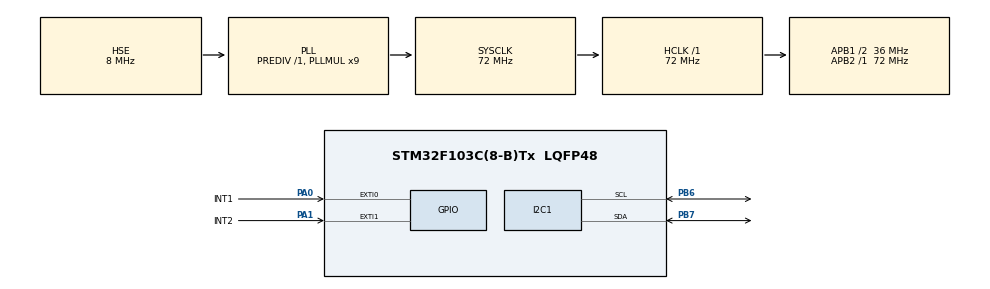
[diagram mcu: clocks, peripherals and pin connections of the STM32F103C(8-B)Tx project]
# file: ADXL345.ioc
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I2C1.I2C_Mode=I2C_Fast
Mcu.Family=STM32F1
Mcu.Name=STM32F103C(8-B)Tx
Mcu.Package=LQFP48
NVIC.PriorityGroup=NVIC_PRIORITYGROUP_4
PA0-WKUP.GPIO_Label=INT1
PA0-WKUP.Signal=GPXTI0
PA1.GPIO_Label=INT2
PA1.Signal=GPXTI1
PA13.Mode=Serial_Wire
PA13.Signal=SYS_JTMS-SWDIO
PA14.Mode=Serial_Wire
PA14.Signal=SYS_JTCK-SWCLK
PB6.Mode=I2C
PB6.Signal=I2C1_SCL
PB7.Mode=I2C
PB7.Signal=I2C1_SDA
PD0-OSC_IN.Mode=HSE-External-Oscillator
PD0-OSC_IN.Signal=RCC_OSC_IN
PD1-OSC_OUT.Mode=HSE-External-Oscillator
PD1-OSC_OUT.Signal=RCC_OSC_OUT
ProjectManager.HeapSize=0x200
ProjectManager.StackSize=0x400
ProjectManager.TargetToolchain=EWARM V8.32
RCC.AHBFreq_Value=72000000
RCC.APB1CLKDivider=RCC_HCLK_DIV2
RCC.APB1Freq_Value=36000000
RCC.APB1TimFreq_Value=72000000
RCC.APB2Freq_Value=72000000
RCC.APB2TimFreq_Value=72000000
RCC.HCLKFreq_Value=72000000
RCC.PLLMUL=RCC_PLL_MUL9
RCC.PLLSourceVirtual=RCC_PLLSOURCE_HSE
RCC.SYSCLKFreq_VALUE=72000000
RCC.SYSCLKSource=RCC_SYSCLKSOURCE_PLLCLK
RCC.USBFreq_Value=72000000
TIM2.Prescaler=72-1
VP_TIM2_VS_ClockSourceINT.Mode=Internal
board=custom

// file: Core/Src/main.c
/* USER CODE BEGIN Header */
/**
  ******************************************************************************
  * @file           : main.c
  * @brief          : Main program body
  ******************************************************************************
  * @attention
  *
  * Copyright (c) 2025 STMicroelectronics.
  * All rights reserved.
  *
  * This software is licensed under terms that can be found in the LICENSE file
  * in the root directory of this software component.
  * If no LICENSE file comes with this software, it is provided AS-IS.
  *
  ******************************************************************************
  */
/* USER CODE END Header */
#include "main.h"

/* USER CODE BEGIN Includes */
#include "ADXL345.h"

/* USER CODE END Includes */

I2C_HandleTypeDef hi2c1;

TIM_HandleTypeDef htim2;

/* USER CODE BEGIN PV */

ADXL345_Data_t accel;

/* USER CODE END PV */

void SystemClock_Config(void);
static void MX_GPIO_Init(void);
static void MX_I2C1_Init(void);
static void MX_TIM2_Init(void);

int main(void)
{

  /* MCU Configuration--------------------------------------------------------*/

  /* Reset of all peripherals, Initializes the Flash interface and the Systick. */
  HAL_Init();

  /* Configure the system clock */
  SystemClock_Config();

  /* Initialize all configured peripherals */
  MX_GPIO_Init();
  MX_I2C1_Init();
  MX_TIM2_Init();
  /* USER CODE BEGIN 2 */
    ADXL345_Init(&hi2c1);
    ADXL345_EnableInterrupts(&hi2c1);

  /* USER CODE END 2 */

  /* Infinite loop */
  /* USER CODE BEGIN WHILE */
  while (1)
  {
      // Polling ??????? ?? 10ms (???????)
        ADXL345_ReadXYZ(&hi2c1, &accel);

        // ????? ?????
        if(accel.DataReady) accel.DataReady = 0;
        if(accel.SingleTap) accel.SingleTap = 0;
        if(accel.DoubleTap) accel.DoubleTap = 0;
        if(accel.FreeFall) accel.FreeFall = 0;
        if(accel.Activity) accel.Activity = 0;
        if(accel.Inactivity) accel.Inactivity = 0;

        HAL_Delay(10);

    /* USER CODE END WHILE */

  }
}

void SystemClock_Config(void)
{
  RCC_OscInitTypeDef RCC_OscInitStruct = {0};
  RCC_ClkInitTypeDef RCC_ClkInitStruct = {0};

  /** Initializes the RCC Oscillators according to the specified parameters
  * in the RCC_OscInitTypeDef structure.
  */
  RCC_OscInitStruct.OscillatorType = RCC_OSCILLATORTYPE_HSE;
  RCC_OscInitStruct.HSEState = RCC_HSE_ON;
  RCC_OscInitStruct.HSEPredivValue = RCC_HSE_PREDIV_DIV1;
  RCC_OscInitStruct.HSIState = RCC_HSI_ON;
  RCC_OscInitStruct.PLL.PLLState = RCC_PLL_ON;
  RCC_OscInitStruct.PLL.PLLSource = RCC_PLLSOURCE_HSE;
  RCC_OscInitStruct.PLL.PLLMUL = RCC_PLL_MUL9;
  if (HAL_RCC_OscConfig(&RCC_OscInitStruct) != HAL_OK)
  {
    Error_Handler();
  }

  /** Initializes the CPU, AHB and APB buses clocks
  */
  RCC_ClkInitStruct.ClockType = RCC_CLOCKTYPE_HCLK|RCC_CLOCKTYPE_SYSCLK
                              |RCC_CLOCKTYPE_PCLK1|RCC_CLOCKTYPE_PCLK2;
  RCC_ClkInitStruct.SYSCLKSource = RCC_SYSCLKSOURCE_PLLCLK;
  RCC_ClkInitStruct.AHBCLKDivider = RCC_SYSCLK_DIV1;
  RCC_ClkInitStruct.APB1CLKDivider = RCC_HCLK_DIV2;
  RCC_ClkInitStruct.APB2CLKDivider = RCC_HCLK_DIV1;

  if (HAL_RCC_ClockConfig(&RCC_ClkInitStruct, FLASH_LATENCY_2) != HAL_OK)
  {
    Error_Handler();
  }
}

static void MX_I2C1_Init(void)
{

  hi2c1.Instance = I2C1;
  hi2c1.Init.ClockSpeed = 400000;
  hi2c1.Init.DutyCycle = I2C_DUTYCYCLE_2;
  hi2c1.Init.OwnAddress1 = 0;
  hi2c1.Init.AddressingMode = I2C_ADDRESSINGMODE_7BIT;
  hi2c1.Init.DualAddressMode = I2C_DUALADDRESS_DISABLE;
  hi2c1.Init.OwnAddress2 = 0;
  hi2c1.Init.GeneralCallMode = I2C_GENERALCALL_DISABLE;
  hi2c1.Init.NoStretchMode = I2C_NOSTRETCH_DISABLE;
  if (HAL_I2C_Init(&hi2c1) != HAL_OK)
  {
    Error_Handler();
  }

}

static void MX_TIM2_Init(void)
{

  TIM_ClockConfigTypeDef sClockSourceConfig = {0};
  TIM_MasterConfigTypeDef sMasterConfig = {0};

  htim2.Instance = TIM2;
  htim2.Init.Prescaler = 72-1;
  htim2.Init.CounterMode = TIM_COUNTERMODE_UP;
  htim2.Init.Period = 65535;
  htim2.Init.ClockDivision = TIM_CLOCKDIVISION_DIV1;
  htim2.Init.AutoReloadPreload = TIM_AUTORELOAD_PRELOAD_DISABLE;
  if (HAL_TIM_Base_Init(&htim2) != HAL_OK)
  {
    Error_Handler();
  }
  sClockSourceConfig.ClockSource = TIM_CLOCKSOURCE_INTERNAL;
  if (HAL_TIM_ConfigClockSource(&htim2, &sClockSourceConfig) != HAL_OK)
  {
    Error_Handler();
  }
  sMasterConfig.MasterOutputTrigger = TIM_TRGO_RESET;
  sMasterConfig.MasterSlaveMode = TIM_MASTERSLAVEMODE_DISABLE;
  if (HAL_TIMEx_MasterConfigSynchronization(&htim2, &sMasterConfig) != HAL_OK)
  {
    Error_Handler();
  }

}

static void MX_GPIO_Init(void)
{
  GPIO_InitTypeDef GPIO_InitStruct = {0};

  /* GPIO Ports Clock Enable */
  __HAL_RCC_GPIOD_CLK_ENABLE();
  __HAL_RCC_GPIOA_CLK_ENABLE();
  __HAL_RCC_GPIOB_CLK_ENABLE();

  /*Configure GPIO pins : INT1_Pin INT2_Pin */
  GPIO_InitStruct.Pin = INT1_Pin|INT2_Pin;
  GPIO_InitStruct.Mode = GPIO_MODE_IT_RISING;
  GPIO_InitStruct.Pull = GPIO_NOPULL;
  HAL_GPIO_Init(GPIOA, &GPIO_InitStruct);

}

/* USER CODE BEGIN 4 */
void HAL_GPIO_EXTI_Callback(uint16_t GPIO_Pin)
{
    uint8_t intSource;

    if(GPIO_Pin == GPIO_PIN_0 || GPIO_Pin == GPIO_PIN_1)
    {
        HAL_I2C_Mem_Read(&hi2c1, ADXL345_ADDR, REG_INT_SOURCE, 1, &intSource, 1, 100);

        if(intSource & 0x80) ADXL345_ReadXYZ(&hi2c1, &accel), accel.DataReady = 1;
        accel.SingleTap = (intSource & 0x40) ? 1 : 0;
        accel.DoubleTap = (intSource & 0x20) ? 1 : 0;
        accel.Activity = (intSource & 0x10) ? 1 : 0;
        accel.Inactivity = (intSource & 0x08) ? 1 : 0;
        accel.FreeFall = (intSource & 0x04) ? 1 : 0;
    }
}
/* USER CODE END 4 */

void Error_Handler(void)
{
  __disable_irq();
  while (1)
  {
  }
}
